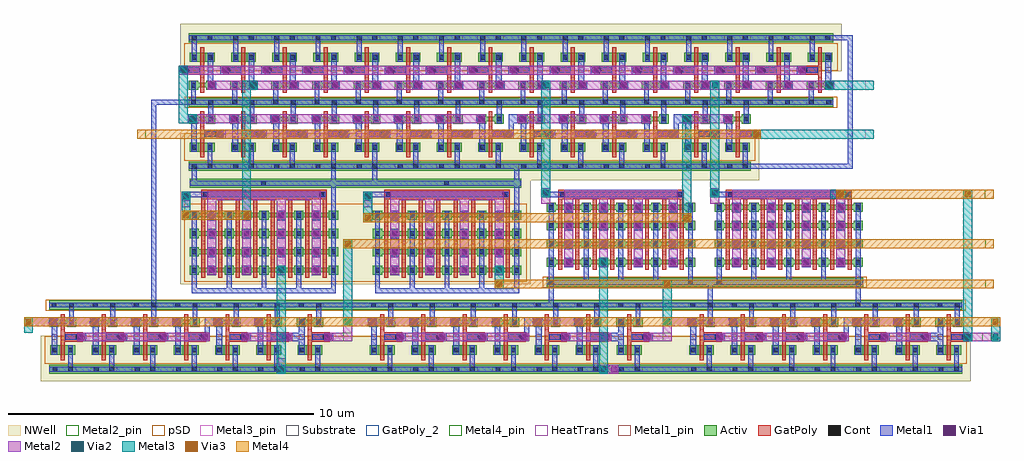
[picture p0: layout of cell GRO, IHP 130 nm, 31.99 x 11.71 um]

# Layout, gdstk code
from math import pi, radians
import gdstk
lib = gdstk.Library(unit=1e-6, precision=1e-09)
def R(c, l, rs):  # rectangles x0, y0, x1, y1
    for r in rs: c.add(gdstk.rectangle(r[:2], r[2:], *l))
def A(c, l, x, y, w, h, nx, ny, dx, dy):  # array of equal rectangles
    R(c, l, [(x+i*dx, y+j*dy, x+i*dx+w, y+j*dy+h) for i in range(nx) for j in range(ny)])
Activ = (1, 0)
GatPoly = (5, 0)
GatPoly_2 = (5, 2)
Cont = (6, 0)
Metal1 = (8, 0)
Metal1_pin = (8, 2)
Metal2 = (10, 0)
Metal2_pin = (10, 2)
pSD = (14, 0)
Via1 = (19, 0)
Via2 = (29, 0)
Metal3 = (30, 0)
Metal3_pin = (30, 2)
NWell = (31, 0)
Substrate = (40, 0)
Via3 = (49, 0)
Metal4 = (50, 0)
Metal4_pin = (50, 2)
HeatTrans = (51, 0)

nmos_11 = lib.new_cell('nmos$11')
R(nmos_11, Activ, [(0,0,0.3,0.3), (0.57,0,0.87,0.3), (0,0.075,0.87,0.225)])
R(nmos_11, GatPoly, [(0.37,-0.105,0.5,0.405)])
R(nmos_11, GatPoly_2, [(0.37,-0.105,0.5,0.405)])
R(nmos_11, Cont, [(0.07,0.07,0.23,0.23), (0.64,0.07,0.8,0.23)])
R(nmos_11, Metal1, [(0.07,0.02,0.23,0.28), (0.64,0.02,0.8,0.28)])
R(nmos_11, Metal1_pin, [(0.07,0.02,0.23,0.28), (0.64,0.02,0.8,0.28)])
R(nmos_11, HeatTrans, [(0.37,-0.105,0.5,0.405)])
nmos_11.add(gdstk.Label('nmos', (0.435,0.15), layer=63, texttype=0))
nmos_11.add(gdstk.Label('nmos', (0.435,0.15), layer=51, texttype=0))

pmos_1_7 = lib.new_cell('pmos$1$7')
R(pmos_1_7, Activ, [(0,0,0.3,0.3), (0,0,0.81,0.3), (0.51,0,0.81,0.3)])
R(pmos_1_7, GatPoly, [(0.34,-0.18,0.47,0.48), (0.34,-0.18,0.47,0.48)])
R(pmos_1_7, Cont, [(0.07,0.07,0.23,0.23), (0.58,0.07,0.74,0.23)])
R(pmos_1_7, Metal1, [(0.07,0,0.23,0.3), (0.07,0,0.23,0.3), (0.58,0,0.74,0.3), (0.58,0,0.74,0.3)])
R(pmos_1_7, pSD, [(-0.18,-0.3,0.99,0.6)])
R(pmos_1_7, NWell, [(-0.31,-0.31,1.12,0.61)])
R(pmos_1_7, Substrate, [(0.51,0,0.81,0.3)])
R(pmos_1_7, HeatTrans, [(0.34,-0.18,0.47,0.48)])
pmos_1_7.add(gdstk.Label('pmos', (0.405,0.15), layer=63, texttype=0))
pmos_1_7.add(gdstk.Label('pmos', (0.405,0.15), layer=51, texttype=0))

via1_constraint_9 = lib.new_cell('Via1_constraint$9')
R(via1_constraint_9, Metal1, [(0,0,0.29,0.29)])
R(via1_constraint_9, Metal2, [(0,0,0.29,0.29)])
R(via1_constraint_9, Via1, [(0.05,0.05,0.24,0.24)])

inv_d1_7 = lib.new_cell('INV_D1$7')
R(inv_d1_7, Activ, [(0.28,0.03,1.15,0.33), (0.28,2.135,1.15,2.435)])
R(inv_d1_7, GatPoly, [(0.06,1.08,0.65,1.38), (0.65,1.11,0.78,1.325)])
R(inv_d1_7, GatPoly_2, [(0.06,1.08,0.65,1.38)])
R(inv_d1_7, Cont, [(0.35,0.1,0.51,0.26), (0.92,0.1,1.08,0.26), (0.13,1.15,0.29,1.31), (0.38,2.205,0.54,2.365), (0.89,2.205,1.05,2.365)])
R(inv_d1_7, Metal1, [(0.28,0.1,1.15,0.26), (0.07,1.14,0.64,1.32), (0.28,2.205,1.15,2.365)])
R(inv_d1_7, Metal1_pin, [(0.28,0.1,1.15,0.26), (0.07,1.14,0.64,1.32), (0.89,1.14,1.08,1.32), (0.28,2.205,1.15,2.365)])
R(inv_d1_7, pSD, [(0.15,0,1.28,0.36)])
R(inv_d1_7, NWell, [(0,2.115,1.43,2.745)])
R(inv_d1_7, Substrate, [(0.82,1.505,1.12,1.805)])
inv_d1_7.add(gdstk.FlexPath([(0.46,1.805),(0.46,2.365)], 0.16, ends="flush", simple_path=True, layer=8, datatype=0))  # Metal1
inv_d1_7.add(gdstk.FlexPath([(0.985,0.585),(0.985,1.805)], 0.19, ends="flush", simple_path=True, layer=8, datatype=0))  # Metal1
inv_d1_7.add(gdstk.FlexPath([(0.43,0.865),(0.43,0.1)], 0.16, ends="flush", simple_path=True, layer=8, datatype=0))  # Metal1
inv_d1_7.add(gdstk.FlexPath([(0.715,1.11),(0.715,0.99)], 0.13, ends="flush", simple_path=True, layer=5, datatype=0))  # GatPoly
inv_d1_7.add(gdstk.Reference(nmos_11, (0.28,0.585)))
inv_d1_7.add(gdstk.Reference(pmos_1_7, (0.31,1.505)))
inv_d1_7.add(gdstk.Reference(via1_constraint_9, (-0.05,1.085)))
inv_d1_7.add(gdstk.Reference(via1_constraint_9, (0.89,0.585)))
inv_d1_7.add(gdstk.Label('nmos', (0.715,0.655), layer=63, texttype=0))
inv_d1_7.add(gdstk.Label('VIN', (0.285,1.175), layer=8, texttype=25))
inv_d1_7.add(gdstk.Label('VOUT', (1.03,1.165), layer=8, texttype=25))
inv_d1_7.add(gdstk.Label('VDD', (0.655,2.28), layer=8, texttype=25))
inv_d1_7.add(gdstk.Label('VSS', (0.65,0.175), layer=8, texttype=25))

delay_gro_placement = lib.new_cell('Delay_GRO_placement')
r = gdstk.Reference(inv_d1_7, (0,2.315)); r.repetition = gdstk.Repetition(16, 1, v1=(1.35,0), v2=(0,0)); delay_gro_placement.add(r)
r = gdstk.Reference(inv_d1_7, (18.98,2.675), rotation=pi); r.repetition = gdstk.Repetition(14, 1, v1=(-1.35,0), v2=(0,0)); delay_gro_placement.add(r)

via2_constraint_11 = lib.new_cell('Via2_constraint$11')
R(via2_constraint_11, Metal2, [(0,0,0.29,0.29)])
R(via2_constraint_11, Via2, [(0.05,0.05,0.24,0.24)])
R(via2_constraint_11, Metal3, [(0,0,0.29,0.29)])

delay_gro_routed = lib.new_cell('Delay_GRO_routed')
R(delay_gro_routed, Activ, [(0.33,0.73,18.1,1.03), (0.33,2.835,21.45,3.135), (0.33,4.94,21.45,5.24)])
R(delay_gro_routed, Metal1, [(0.33,0.8,18.1,0.96), (10.82,1.79,10.98,2.58), (16.22,1.79,16.38,2.58), (10.82,2.29,11.39,2.58), (16.22,2.29,16.79,2.58), (0.33,2.905,21.45,3.065), (0.33,5.01,21.45,5.17)])
R(delay_gro_routed, Metal2, [(1.24,1.79,10.98,2.08), (12.04,1.79,16.38,2.08), (17.44,1.79,19.08,2.08), (0.3,2.29,10.04,2.58), (11.105,2.29,15.445,2.58), (16.5,2.29,18.14,2.58), (0.94,3.39,21.48,3.68), (0,3.89,20.54,4.18)])
R(delay_gro_routed, pSD, [(0.18,1.06,18.25,1.96), (0.2,2.805,21.58,3.165), (0.18,4.01,21.6,4.91)])
R(delay_gro_routed, Metal3, [(18.79,1.79,22.785,2.08), (0,2.29,0.29,4.18), (0,2.29,0.59,2.58), (21.19,3.39,22.785,3.68)])
R(delay_gro_routed, Metal3_pin, [(16.5,-0.945,16.79,-0.655), (22.495,1.79,22.785,2.08), (22.495,3.39,22.785,3.68)])
delay_gro_routed.add(gdstk.Reference(delay_gro_placement, (0.05,0.49)))
delay_gro_routed.add(gdstk.Reference(via2_constraint_11, (16.5,2.29)))
delay_gro_routed.add(gdstk.Reference(via2_constraint_11, (21.19,3.39)))
delay_gro_routed.add(gdstk.Reference(via2_constraint_11, (0,3.89)))
delay_gro_routed.add(gdstk.Reference(via2_constraint_11, (0.3,2.29)))
delay_gro_routed.add(gdstk.Reference(via2_constraint_11, (18.79,1.79)))
delay_gro_routed.add(gdstk.Label('VDD', (0.73,5.065), layer=8, texttype=25))
delay_gro_routed.add(gdstk.Label('VSS', (1.27,2.97), layer=8, texttype=25))
delay_gro_routed.add(gdstk.Label('EN_N', (16.605,-0.79), layer=30, texttype=25))
delay_gro_routed.add(gdstk.Label('G', (22.6,3.545), layer=30, texttype=25))
delay_gro_routed.add(gdstk.Label('EN', (22.585,1.945), layer=30, texttype=25))

delay_gro = lib.new_cell('Delay_GRO')
R(delay_gro, Metal3, [(16.5,-0.945,16.79,2.58)])
delay_gro.add(gdstk.Reference(delay_gro_routed, (0,0)))

pmos_5 = lib.new_cell('pmos$5')
R(pmos_5, Activ, [(0,0,0.3,0.3), (0.57,0,0.87,0.3), (0,0.075,0.87,0.225)])
R(pmos_5, GatPoly, [(0.37,-0.105,0.5,0.405), (0.37,-0.105,0.5,0.405)])
R(pmos_5, Cont, [(0.07,0.07,0.23,0.23), (0.64,0.07,0.8,0.23)])
R(pmos_5, Metal1, [(0.07,0.02,0.23,0.28), (0.07,0.02,0.23,0.28), (0.64,0.02,0.8,0.28), (0.64,0.02,0.8,0.28)])
R(pmos_5, pSD, [(-0.18,-0.225,1.05,0.525)])
R(pmos_5, NWell, [(-0.31,-0.31,1.18,0.61)])
R(pmos_5, Substrate, [(0.57,0,0.87,0.3)])
R(pmos_5, HeatTrans, [(0.37,-0.105,0.5,0.405)])
pmos_5.add(gdstk.Label('pmos', (0.435,0.15), layer=63, texttype=0))
pmos_5.add(gdstk.Label('pmos', (0.435,0.15), layer=51, texttype=0))

m1_4_placement = lib.new_cell('M1_4_placement')
r = gdstk.Reference(pmos_5, (0.31,0.31)); r.repetition = gdstk.Repetition(8, 4, v1=(0.57,0), v2=(0,0.6)); m1_4_placement.add(r)

via1_constraint_1_10 = lib.new_cell('Via1_constraint$1$10')
R(via1_constraint_1_10, Metal1, [(0,0,0.29,0.29)])
R(via1_constraint_1_10, Metal2, [(0,0,0.29,0.29)])
R(via1_constraint_1_10, Via1, [(0.05,0.05,0.24,0.24)])

m1_4_routed = lib.new_cell('M1_4_routed')
R(m1_4_routed, Activ, [(0.31,3.45,5.17,3.75)])
A(m1_4_routed, GatPoly, 0.68, 0.5, 0.13, 2.58, 7, 1, 0.57, 0)
R(m1_4_routed, GatPoly, [(4.67,0.5,4.8,3.38), (0.68,3.08,4.8,3.38)])
R(m1_4_routed, Cont, [(0.75,3.15,0.91,3.31), (4.545,3.15,4.705,3.31), (2.645,3.52,2.805,3.68)])
A(m1_4_routed, Metal1, 0.38, 0, 0.16, 2.685, 5, 1, 1.14, 0)
A(m1_4_routed, Metal1, 0.885, 0.58, 0.29, 0.03, 4, 4, 1.14, 0.6)
R(m1_4_routed, Metal1, [(0.38,0,5.1,0.16), (4.94,2.685,5.1,3.68), (0.7,3.14,4.755,3.32), (0.31,3.52,5.17,3.68)])
R(m1_4_routed, Metal1_pin, [(0.7,3.14,4.755,3.32)])
A(m1_4_routed, Metal2, 0.885, 0.61, 0.29, 2.725, 4, 1, 1.14, 0)
R(m1_4_routed, Metal2, [(0.885,3.045,4.595,3.335)])
R(m1_4_routed, NWell, [(0,3.015,5.48,3.99)])
m1_4_routed.add(gdstk.Reference(m1_4_placement, (0,0.295)))
m1_4_routed.add(gdstk.Reference(via1_constraint_1_10, (0.885,2.41)))
m1_4_routed.add(gdstk.Reference(via1_constraint_1_10, (0.885,1.81)))
m1_4_routed.add(gdstk.Reference(via1_constraint_1_10, (0.885,1.21)))
m1_4_routed.add(gdstk.Reference(via1_constraint_1_10, (0.885,0.61)))
m1_4_routed.add(gdstk.Reference(via1_constraint_1_10, (2.025,2.41)))
m1_4_routed.add(gdstk.Reference(via1_constraint_1_10, (2.025,1.81)))
m1_4_routed.add(gdstk.Reference(via1_constraint_1_10, (2.025,1.21)))
m1_4_routed.add(gdstk.Reference(via1_constraint_1_10, (2.025,0.61)))
m1_4_routed.add(gdstk.Reference(via1_constraint_1_10, (3.165,2.41)))
m1_4_routed.add(gdstk.Reference(via1_constraint_1_10, (3.165,1.81)))
m1_4_routed.add(gdstk.Reference(via1_constraint_1_10, (3.165,1.21)))
m1_4_routed.add(gdstk.Reference(via1_constraint_1_10, (3.165,0.61)))
m1_4_routed.add(gdstk.Reference(via1_constraint_1_10, (4.305,2.41)))
m1_4_routed.add(gdstk.Reference(via1_constraint_1_10, (4.305,1.81)))
m1_4_routed.add(gdstk.Reference(via1_constraint_1_10, (4.305,1.21)))
m1_4_routed.add(gdstk.Reference(via1_constraint_1_10, (4.305,0.61)))

m1_4 = lib.new_cell('M1_4')
R(m1_4, GatPoly_2, [(0.68,3.08,4.8,3.38)])
m1_4.add(gdstk.Reference(m1_4_routed, (0,0)))

nmos_3_3 = lib.new_cell('nmos$3$3')
R(nmos_3_3, Activ, [(0,0,0.3,0.3), (0.57,0,0.87,0.3), (0,0.075,0.87,0.225)])
R(nmos_3_3, GatPoly, [(0.37,-0.105,0.5,0.405)])
R(nmos_3_3, GatPoly_2, [(0.37,-0.105,0.5,0.405)])
R(nmos_3_3, Cont, [(0.07,0.07,0.23,0.23), (0.64,0.07,0.8,0.23)])
R(nmos_3_3, Metal1, [(0.07,0.02,0.23,0.28), (0.64,0.02,0.8,0.28)])
R(nmos_3_3, Metal1_pin, [(0.07,0.02,0.23,0.28), (0.64,0.02,0.8,0.28)])
R(nmos_3_3, HeatTrans, [(0.37,-0.105,0.5,0.405)])
nmos_3_3.add(gdstk.Label('nmos', (0.435,0.15), layer=63, texttype=0))
nmos_3_3.add(gdstk.Label('nmos', (0.435,0.15), layer=51, texttype=0))

m2_3_placement = lib.new_cell('M2_3_placement')
r = gdstk.Reference(nmos_3_3, (0,0.105)); r.repetition = gdstk.Repetition(8, 4, v1=(0.57,0), v2=(0,0.6)); m2_3_placement.add(r)

via1_constraint_5_2 = lib.new_cell('Via1_constraint$5$2')
R(via1_constraint_5_2, Metal1, [(0,0,0.29,0.29)])
R(via1_constraint_5_2, Metal2, [(0,0,0.29,0.29)])
R(via1_constraint_5_2, Via1, [(0.05,0.05,0.24,0.24)])

m2_3_routed = lib.new_cell('M2_3_routed')
R(m2_3_routed, Activ, [(0.13,0.03,4.995,0.33)])
A(m2_3_routed, GatPoly, 0.5, 0.58, 0.13, 2.32, 8, 1, 0.57, 0)
R(m2_3_routed, GatPoly, [(0.5,2.9,4.62,3.2)])
R(m2_3_routed, GatPoly_2, [(0.5,2.9,4.62,3.2)])
R(m2_3_routed, Cont, [(0.2,0.1,0.36,0.26), (4.76,0.1,4.92,0.26), (0.57,2.97,0.73,3.13), (4.39,2.97,4.55,3.13)])
A(m2_3_routed, Metal1, 0.2, 0.1, 0.16, 2.665, 5, 1, 1.14, 0)
A(m2_3_routed, Metal1, 0.705, 0.66, 0.29, 0.03, 4, 4, 1.14, 0.6)
R(m2_3_routed, Metal1, [(0.13,0.1,4.995,0.26), (0.52,2.96,4.6,3.14)])
R(m2_3_routed, Metal1_pin, [(0.52,2.96,4.6,3.14)])
A(m2_3_routed, Metal2, 0.705, 0.69, 0.29, 2.52, 4, 1, 1.14, 0)
R(m2_3_routed, Metal2, [(0.705,2.92,4.415,3.21)])
R(m2_3_routed, pSD, [(0,0,5.125,0.36)])
m2_3_routed.add(gdstk.Reference(m2_3_placement, (0.13,0.58)))
m2_3_routed.add(gdstk.Reference(via1_constraint_5_2, (0.705,2.49)))
m2_3_routed.add(gdstk.Reference(via1_constraint_5_2, (0.705,1.89)))
m2_3_routed.add(gdstk.Reference(via1_constraint_5_2, (0.705,1.29)))
m2_3_routed.add(gdstk.Reference(via1_constraint_5_2, (0.705,0.69)))
m2_3_routed.add(gdstk.Reference(via1_constraint_5_2, (1.845,2.49)))
m2_3_routed.add(gdstk.Reference(via1_constraint_5_2, (1.845,1.89)))
m2_3_routed.add(gdstk.Reference(via1_constraint_5_2, (1.845,1.29)))
m2_3_routed.add(gdstk.Reference(via1_constraint_5_2, (1.845,0.69)))
m2_3_routed.add(gdstk.Reference(via1_constraint_5_2, (2.985,2.49)))
m2_3_routed.add(gdstk.Reference(via1_constraint_5_2, (2.985,1.89)))
m2_3_routed.add(gdstk.Reference(via1_constraint_5_2, (2.985,1.29)))
m2_3_routed.add(gdstk.Reference(via1_constraint_5_2, (2.985,0.69)))
m2_3_routed.add(gdstk.Reference(via1_constraint_5_2, (4.125,2.49)))
m2_3_routed.add(gdstk.Reference(via1_constraint_5_2, (4.125,1.89)))
m2_3_routed.add(gdstk.Reference(via1_constraint_5_2, (4.125,1.29)))
m2_3_routed.add(gdstk.Reference(via1_constraint_5_2, (4.125,0.69)))

m2_3 = lib.new_cell('M2_3')
m2_3.add(gdstk.Reference(m2_3_routed, (0,0)))

nmos_2_3 = lib.new_cell('nmos$2$3')
R(nmos_2_3, Activ, [(0,0,0.3,0.3), (0.57,0,0.87,0.3), (0,0.075,0.87,0.225)])
R(nmos_2_3, GatPoly, [(0.37,-0.105,0.5,0.405)])
R(nmos_2_3, GatPoly_2, [(0.37,-0.105,0.5,0.405)])
R(nmos_2_3, Cont, [(0.07,0.07,0.23,0.23), (0.64,0.07,0.8,0.23)])
R(nmos_2_3, Metal1, [(0.07,0.02,0.23,0.28), (0.64,0.02,0.8,0.28)])
R(nmos_2_3, Metal1_pin, [(0.07,0.02,0.23,0.28), (0.64,0.02,0.8,0.28)])
R(nmos_2_3, HeatTrans, [(0.37,-0.105,0.5,0.405)])
nmos_2_3.add(gdstk.Label('nmos', (0.435,0.15), layer=63, texttype=0))
nmos_2_3.add(gdstk.Label('nmos', (0.435,0.15), layer=51, texttype=0))

pmos_1_1_4 = lib.new_cell('pmos$1$1$4')
R(pmos_1_1_4, Activ, [(0,0,0.3,0.3), (0,0,0.81,0.3), (0.51,0,0.81,0.3)])
R(pmos_1_1_4, GatPoly, [(0.34,-0.18,0.47,0.48), (0.34,-0.18,0.47,0.48)])
R(pmos_1_1_4, Cont, [(0.07,0.07,0.23,0.23), (0.58,0.07,0.74,0.23)])
R(pmos_1_1_4, Metal1, [(0.07,0,0.23,0.3), (0.07,0,0.23,0.3), (0.58,0,0.74,0.3), (0.58,0,0.74,0.3)])
R(pmos_1_1_4, pSD, [(-0.18,-0.3,0.99,0.6)])
R(pmos_1_1_4, NWell, [(-0.31,-0.31,1.12,0.61)])
R(pmos_1_1_4, Substrate, [(0.51,0,0.81,0.3)])
R(pmos_1_1_4, HeatTrans, [(0.34,-0.18,0.47,0.48)])
pmos_1_1_4.add(gdstk.Label('pmos', (0.405,0.15), layer=63, texttype=0))
pmos_1_1_4.add(gdstk.Label('pmos', (0.405,0.15), layer=51, texttype=0))

via1_constraint_3_2 = lib.new_cell('Via1_constraint$3$2')
R(via1_constraint_3_2, Metal1, [(0,0,0.29,0.29)])
R(via1_constraint_3_2, Metal2, [(0,0,0.29,0.29)])
R(via1_constraint_3_2, Via1, [(0.05,0.05,0.24,0.24)])

inv_d1_1_4 = lib.new_cell('INV_D1$1$4')
R(inv_d1_1_4, Activ, [(0.28,0.03,1.15,0.33), (0.28,2.135,1.15,2.435)])
R(inv_d1_1_4, GatPoly, [(0.06,1.08,0.65,1.38), (0.65,1.11,0.78,1.325)])
R(inv_d1_1_4, GatPoly_2, [(0.06,1.08,0.65,1.38)])
R(inv_d1_1_4, Cont, [(0.35,0.1,0.51,0.26), (0.92,0.1,1.08,0.26), (0.13,1.15,0.29,1.31), (0.38,2.205,0.54,2.365), (0.89,2.205,1.05,2.365)])
R(inv_d1_1_4, Metal1, [(0.28,0.1,1.15,0.26), (0.07,1.14,0.64,1.32), (0.28,2.205,1.15,2.365)])
R(inv_d1_1_4, Metal1_pin, [(0.28,0.1,1.15,0.26), (0.07,1.14,0.64,1.32), (0.89,1.14,1.08,1.32), (0.28,2.205,1.15,2.365)])
R(inv_d1_1_4, pSD, [(0.15,0,1.28,0.36)])
R(inv_d1_1_4, NWell, [(0,2.115,1.43,2.675)])
R(inv_d1_1_4, Substrate, [(0.82,1.505,1.12,1.805)])
inv_d1_1_4.add(gdstk.FlexPath([(0.46,1.805),(0.46,2.365)], 0.16, ends="flush", simple_path=True, layer=8, datatype=0))  # Metal1
inv_d1_1_4.add(gdstk.FlexPath([(0.985,0.585),(0.985,1.805)], 0.19, ends="flush", simple_path=True, layer=8, datatype=0))  # Metal1
inv_d1_1_4.add(gdstk.FlexPath([(0.43,0.865),(0.43,0.1)], 0.16, ends="flush", simple_path=True, layer=8, datatype=0))  # Metal1
inv_d1_1_4.add(gdstk.FlexPath([(0.715,1.11),(0.715,0.99)], 0.13, ends="flush", simple_path=True, layer=5, datatype=0))  # GatPoly
inv_d1_1_4.add(gdstk.Reference(nmos_2_3, (0.28,0.585)))
inv_d1_1_4.add(gdstk.Reference(pmos_1_1_4, (0.31,1.505)))
inv_d1_1_4.add(gdstk.Reference(via1_constraint_3_2, (-0.05,1.085)))
inv_d1_1_4.add(gdstk.Label('nmos', (0.715,0.655), layer=63, texttype=0))
inv_d1_1_4.add(gdstk.Label('VIN', (0.285,1.175), layer=8, texttype=25))
inv_d1_1_4.add(gdstk.Label('VOUT', (1.03,1.165), layer=8, texttype=25))
inv_d1_1_4.add(gdstk.Label('VDD', (0.655,2.28), layer=8, texttype=25))
inv_d1_1_4.add(gdstk.Label('VSS', (0.65,0.175), layer=8, texttype=25))

inv3_placement = lib.new_cell('INV3_placement')
r = gdstk.Reference(inv_d1_1_4, (18.98,2.675), rotation=pi); r.repetition = gdstk.Repetition(7, 1, v1=(-1.35,0), v2=(0,0)); inv3_placement.add(r)

via2_constraint_1_6 = lib.new_cell('Via2_constraint$1$6')

inv3_routed = lib.new_cell('INV3_routed')
R(inv3_routed, Activ, [(0.85,0.24,9.17,0.54), (0.85,2.345,9.82,2.645)])
R(inv3_routed, Metal1, [(0.85,0.31,9.17,0.47), (5.94,1.3,6.1,2.09), (8.51,1.3,9.21,1.59), (5.94,1.8,6.51,2.09), (0.85,2.415,9.82,2.575)])
R(inv3_routed, Metal2, [(1.76,1.3,6.1,1.59), (7.16,1.3,8.8,1.59), (9.86,1.3,10.775,1.59), (0.015,1.8,1.13,2.09), (0.82,1.8,5.16,2.09), (6.22,1.8,7.86,2.09)])
R(inv3_routed, Metal2_pin, [(10.485,1.3,10.775,1.59), (0.015,1.8,0.305,2.09)])
R(inv3_routed, pSD, [(0.7,0.57,9.32,1.47), (0.72,2.315,9.95,2.675)])
inv3_routed.add(gdstk.Reference(inv3_placement, (-8.88,0)))
inv3_routed.add(gdstk.Reference(via2_constraint_1_6, (7.57,1.8)))
inv3_routed.add(gdstk.Reference(via2_constraint_1_6, (12.26,2.9)))
inv3_routed.add(gdstk.Reference(via2_constraint_1_6, (-8.93,3.4)))
inv3_routed.add(gdstk.Reference(via2_constraint_1_6, (-8.63,1.8)))
inv3_routed.add(gdstk.Reference(via2_constraint_1_6, (9.86,1.3)))
inv3_routed.add(gdstk.Label('VIN', (10.605,1.45), layer=10, texttype=25))
inv3_routed.add(gdstk.Label('VOUT', (0.165,1.975), layer=10, texttype=25))

via1_constraint_4_2 = lib.new_cell('Via1_constraint$4$2')
R(via1_constraint_4_2, Metal1, [(0,0,0.29,0.29)])
R(via1_constraint_4_2, Metal2, [(0,0,0.29,0.29)])
R(via1_constraint_4_2, Via1, [(0.05,0.05,0.24,0.24)])

inv3 = lib.new_cell('INV3')
inv3.add(gdstk.Reference(inv3_routed, (0,0)))
inv3.add(gdstk.Reference(via1_constraint_4_2, (7.57,1.8)))
inv3.add(gdstk.Reference(via1_constraint_4_2, (6.22,1.8)))
inv3.add(gdstk.Reference(via1_constraint_4_2, (4.87,1.8)))
inv3.add(gdstk.Reference(via1_constraint_4_2, (3.52,1.8)))
inv3.add(gdstk.Reference(via1_constraint_4_2, (2.17,1.8)))
inv3.add(gdstk.Reference(via1_constraint_4_2, (0.82,1.8)))

gro_placement = lib.new_cell('GRO_placement')
R(gro_placement, Activ, [(0.835,0.24,30.745,0.54), (0.835,2.345,30.745,2.645), (17.135,3.095,27.5,3.395), (5.435,6.335,16.295,6.635)])
R(gro_placement, Metal1, [(0.835,0.31,30.745,0.47), (0.835,2.415,30.745,2.575), (17.135,3.165,27.5,3.325), (5.435,6.405,16.295,6.565), (5.505,6.405,5.665,7.12), (10.065,6.405,10.225,7.12), (11.415,6.405,11.575,7.12), (16.065,6.405,16.225,7.12)])
R(gro_placement, Metal2, [(10.47,1.3,10.76,2.09), (20.94,1.3,21.23,2.09)])
R(gro_placement, pSD, [(0.705,2.315,30.875,2.675), (17.005,3.065,27.63,3.425)])
R(gro_placement, NWell, [(0.555,0,31.025,1.48), (10.605,3.18,11.125,6.65)])
gro_placement.add(gdstk.Reference(delay_gro, (5.075,6.16)))
r = gdstk.Reference(m1_4, (5.125,2.885)); r.repetition = gdstk.Repetition(2, 1, v1=(6,0), v2=(0,0)); gro_placement.add(r)
r = gdstk.Reference(m2_3, (17.005,3.065)); r.repetition = gdstk.Repetition(2, 1, v1=(5.5,0), v2=(0,0)); gro_placement.add(r)
r = gdstk.Reference(inv3, (-0.015,0)); r.repetition = gdstk.Repetition(3, 1, v1=(10.47,0), v2=(0,0)); gro_placement.add(r)

via3_constraint_3 = lib.new_cell('Via3_constraint$3')
R(via3_constraint_3, Metal3, [(0,0,0.29,0.29)])
R(via3_constraint_3, Via3, [(0.05,0.05,0.24,0.24)])
R(via3_constraint_3, Metal4, [(0,0,0.29,0.29)])

via2_constraint_2_2 = lib.new_cell('Via2_constraint$2$2')
R(via2_constraint_2_2, Metal2, [(0,0,0.29,0.29)])
R(via2_constraint_2_2, Via2, [(0.05,0.05,0.24,0.24)])
R(via2_constraint_2_2, Metal3, [(0,0,0.29,0.29)])

gro_routed = lib.new_cell('GRO_routed')
R(gro_routed, Metal1, [(4.175,2.415,4.335,9.225), (17.205,2.415,17.365,3.325), (22.415,2.415,22.575,3.325), (27.265,2.415,27.425,3.325), (5.455,6.025,5.825,6.205), (11.41,6.025,11.825,6.205), (17.25,6.025,17.525,6.205), (22.79,6.025,23.025,6.205), (23.825,6.96,27.16,7.12), (27,6.96,27.16,11.33), (4.175,9.065,5.405,9.225), (26.525,11.17,27.16,11.33)])
R(gro_routed, Metal2, [(18.85,0.245,19.48,0.535), (8.29,0.535,8.58,0.745), (5.165,5.705,5.455,5.915), (11.12,5.705,11.41,5.915), (16.96,5.815,17.25,6.025), (22.5,5.815,22.79,6.025)])
R(gro_routed, pSD, [(0.685,0.57,30.895,1.47), (5.255,3.265,16.475,5.815)])
R(gro_routed, Metal3, [(8.29,0.245,8.58,3.785), (18.85,0.245,19.14,4.045), (30.785,1.3,31.075,6.275), (31.7,1.3,31.99,2.09), (0,1.59,0.29,1.8), (10.47,1.8,10.76,4.65), (20.94,1.8,21.23,3.33), (11.12,5.215,11.41,6.205), (5.165,5.295,5.455,6.205), (7.15,5.295,7.44,9.84), (26.42,5.985,26.63,6.275), (16.96,6.025,17.25,9.84), (22.5,6.025,22.795,9.84)])
R(gro_routed, Metal4, [(0,1.8,31.99,2.09), (20.94,3.04,31.785,3.33), (10.47,4.36,31.785,4.65), (11.12,5.215,21.865,5.505), (5.165,5.295,7.44,5.585), (26.63,5.985,31.78,6.275), (3.705,7.95,24.155,8.24)])
R(gro_routed, Metal4_pin, [(31.5,3.04,31.785,3.33), (31.5,4.36,31.785,4.65), (31.495,5.985,31.78,6.275), (3.705,7.95,3.995,8.24)])
gro_routed.add(gdstk.Reference(gro_placement, (0,0)))
gro_routed.add(gdstk.Reference(via3_constraint_3, (21.575,5.215)))
gro_routed.add(gdstk.Reference(via3_constraint_3, (11.12,5.215)))
gro_routed.add(gdstk.Reference(via2_constraint_2_2, (11.12,5.915)))
gro_routed.add(gdstk.Reference(via1_constraint_4_2, (11.12,5.915)))
gro_routed.add(gdstk.Reference(via3_constraint_3, (7.15,5.295)))
gro_routed.add(gdstk.Reference(via2_constraint_2_2, (7.365,9.55)))
gro_routed.add(gdstk.Reference(via3_constraint_3, (5.165,5.295)))
gro_routed.add(gdstk.Reference(via2_constraint_2_2, (5.165,5.915)))
gro_routed.add(gdstk.Reference(via1_constraint_4_2, (5.165,5.915)))
gro_routed.add(gdstk.Reference(via2_constraint_2_2, (8.29,3.495)))
gro_routed.add(gdstk.Reference(via2_constraint_2_2, (8.29,0.245)))
gro_routed.add(gdstk.Reference(via1_constraint_4_2, (8.29,0.245)))
gro_routed.add(gdstk.Reference(via1_constraint_4_2, (16.96,6.025)))
gro_routed.add(gdstk.Reference(via2_constraint_2_2, (16.96,6.025)))
gro_routed.add(gdstk.Reference(via2_constraint_2_2, (16.96,9.55)))
gro_routed.add(gdstk.Reference(via2_constraint_2_2, (18.85,3.755)))
gro_routed.add(gdstk.Reference(via2_constraint_2_2, (18.85,0.245)))
gro_routed.add(gdstk.Reference(via1_constraint_4_2, (19.19,0.245)))
gro_routed.add(gdstk.Reference(via1_constraint_4_2, (22.5,6.025)))
gro_routed.add(gdstk.Reference(via2_constraint_2_2, (22.5,6.025)))
gro_routed.add(gdstk.Reference(via2_constraint_2_2, (22.505,9.55)))
gro_routed.add(gdstk.Reference(via2_constraint_2_2, (26.63,5.985)))
gro_routed.add(gdstk.Reference(via3_constraint_3, (26.63,5.985)))
gro_routed.add(gdstk.Reference(via2_constraint_2_2, (30.785,1.3)))
gro_routed.add(gdstk.Reference(via3_constraint_3, (30.785,5.985)))
gro_routed.add(gdstk.Reference(via2_constraint_2_2, (10.47,1.8)))
gro_routed.add(gdstk.Reference(via3_constraint_3, (10.47,4.36)))
gro_routed.add(gdstk.Reference(via2_constraint_2_2, (20.94,1.8)))
gro_routed.add(gdstk.Reference(via3_constraint_3, (20.94,3.04)))
gro_routed.add(gdstk.Reference(via2_constraint_2_2, (0,1.8)))
gro_routed.add(gdstk.Reference(via3_constraint_3, (0,1.8)))
gro_routed.add(gdstk.Reference(via2_constraint_2_2, (31.7,1.3)))
gro_routed.add(gdstk.Reference(via3_constraint_3, (31.7,1.8)))
gro_routed.add(gdstk.Reference(via3_constraint_3, (23.865,7.95)))
gro_routed.add(gdstk.Label('S', (10.6,0.385), layer=8, texttype=25))
gro_routed.add(gdstk.Label('K2', (31.59,6.115), layer=50, texttype=25))
gro_routed.add(gdstk.Label('K1', (31.625,4.52), layer=50, texttype=25))
gro_routed.add(gdstk.Label('K0', (31.65,3.2), layer=50, texttype=25))
gro_routed.add(gdstk.Label('EN', (3.86,8.105), layer=50, texttype=25))

gro = lib.new_cell('GRO')
R(gro, Metal3, [(15.43,3.04,15.72,3.785)])
R(gro, Metal4, [(15.43,3.04,21.23,3.33)])
gro.add(gdstk.Reference(gro_routed, (0,0)))
gro.add(gdstk.Reference(via3_constraint_3, (15.43,3.04)))
gro.add(gdstk.Reference(via2_constraint_2_2, (15.43,3.495)))

lib.write_gds('GRO.gds')
